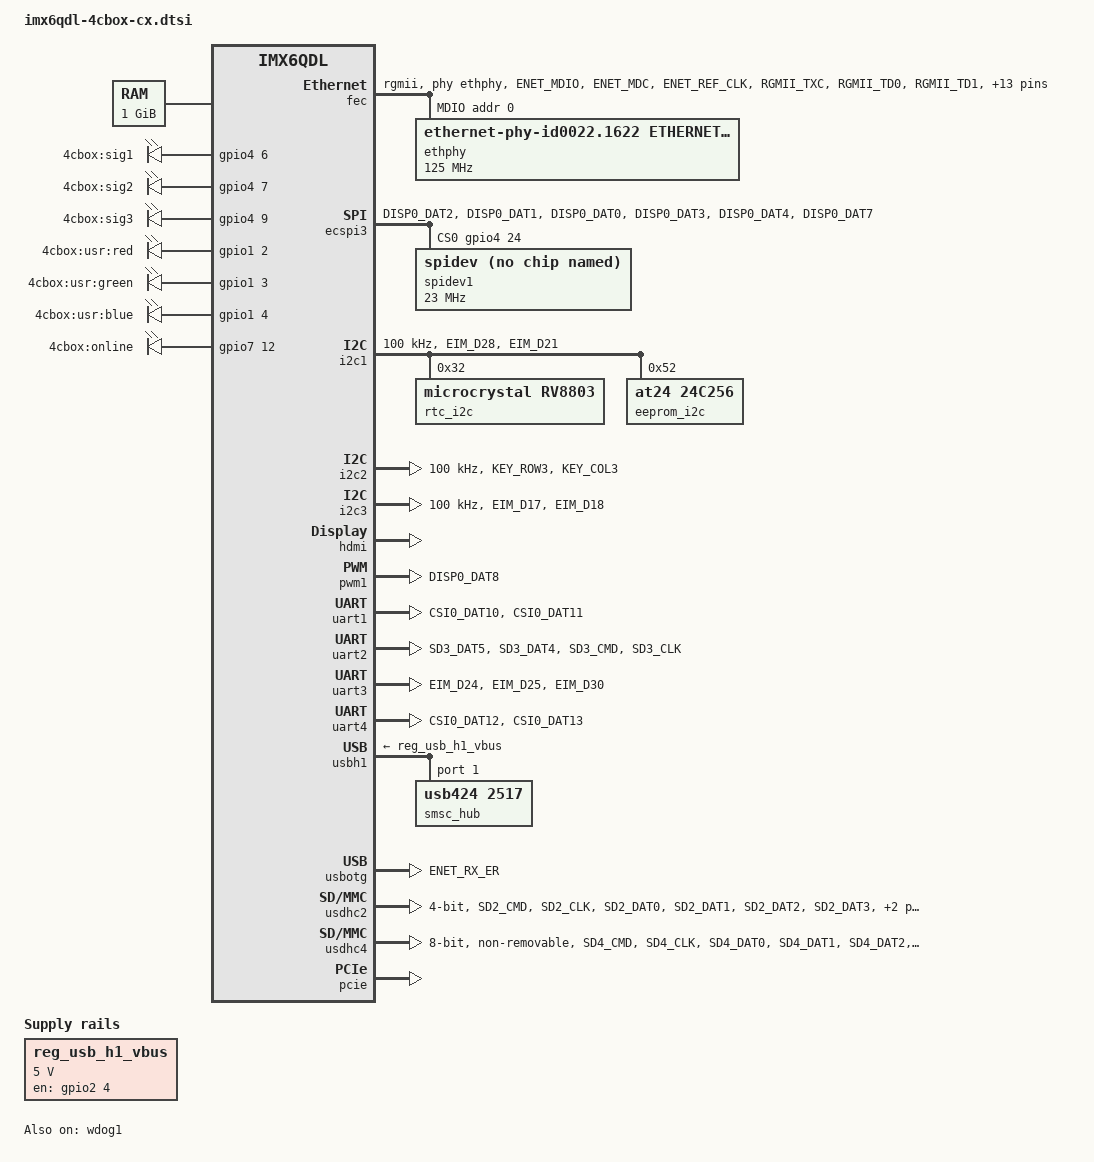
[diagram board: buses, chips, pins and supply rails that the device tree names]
// SPDX-License-Identifier: GPL-2.0+
/*
 * Copyright (C) 2019 Christ Electronic Systems GmbH
 * Peter Fink <pfink@christ-es.de>
 * Copyright 2012-2015 Freescale Semiconductor, Inc.
 * Copyright 2011 Linaro Ltd.
 *
 * The code contained herein is licensed under the GNU General Public
 * License. You may obtain a copy of the GNU General Public License
 * Version 2 or later at the following locations:
 *
 * http://www.opensource.org/licenses/gpl-license.html
 * http://www.gnu.org/copyleft/gpl.html
 */

#include <dt-bindings/clock/imx6qdl-clock.h>
#include <dt-bindings/gpio/gpio.h>
#include <dt-bindings/input/input.h>

/ {

	aliases {
		ethernet1 = "/soc/aips-bus@2100000/usb@2184200/smsc_hub@1/asix_enet@1";
	};

	chosen {
		stdout-path = &uart1;
	};

	memory@10000000 {
		reg = <0x10000000 0x40000000>;
	};

	regulators {
		compatible = "simple-bus";
		#address-cells = <1>;
		#size-cells = <0>;

		reg_usb_h1_vbus: regulator@1 {
			compatible = "regulator-fixed";
			reg = <0>;
			regulator-name = "usb_h1_vbus";
			regulator-min-microvolt = <5000000>;
			regulator-max-microvolt = <5000000>;
			pinctrl-names = "default";
			pinctrl-0 = <&pinctrl_usbhub_reset>; /* smsc usb2517i reset */
			gpio = <&gpio2 4 0>;
			enable-active-high;
			startup-delay-us = <2000>;
			status = "okay";
		};
	};

	gpio_leds {
		compatible = "gpio-leds";
		pinctrl-names = "default";
		pinctrl-0 = <&pinctrl_leds>;

		led-sig1 {
			label = "4cbox:sig1";
			gpios = <&gpio4 6 0>;
			default-state = "off";
		};

		led-sig2 {
			label = "4cbox:sig2";
			gpios = <&gpio4 7 0>;
			default-state = "off";
		};

		led-sig3 {
			label = "4cbox:sig3";
			gpios = <&gpio4 9 0>;
			default-state = "off";
		};

		led-usr-red {
			label = "4cbox:usr:red";
			gpios = <&gpio1 2 0>;
			default-state = "off";
		};

		led-usr-green {
			label = "4cbox:usr:green";
			gpios = <&gpio1 3 0>;
			default-state = "off";
		};

		led-usr-blue {
			label = "4cbox:usr:blue";
			gpios = <&gpio1 4 0>;
			default-state = "off";
		};

		led-online {
			label = "4cbox:online";
			gpios = <&gpio7 12 0>;
			linux,default-trigger = "heartbeat";
		};
	};
};

&fec {
	pinctrl-names = "default";
	pinctrl-0 = <&pinctrl_enet>;
	phy-mode = "rgmii";
	interrupts-extended = <&gpio1 6 IRQ_TYPE_LEVEL_HIGH>,
			      <&intc 0 119 IRQ_TYPE_LEVEL_HIGH>;
	fsl,err006687-workaround-present;
	phy-handle = <&ethphy>;
	phy-reset-gpios = <&gpio1 25 GPIO_ACTIVE_LOW>;
	phy-reset-duration = <1>;
	txen-skew-ps = <0>;
	txc-skew-ps = <1680>;
	rxdv-skew-ps = <0>;
	rxc-skew-ps = <1680>;
	rxd0-skew-ps = <0>;
	rxd1-skew-ps = <0>;
	rxd2-skew-ps = <0>;
	rxd3-skew-ps = <0>;
	txd0-skew-ps = <0>;
	txd1-skew-ps = <0>;
	txd2-skew-ps = <0>;
	txd3-skew-ps = <0>;
	status = "okay";

	mdio {
		#address-cells = <1>;
		#size-cells = <0>;

		ethphy: ethernet-phy@0 {
			compatible = "ethernet-phy-id0022.1622, ethernet-phy-ieee802.3-c22";
			reg = <0>;
			max-speed = <1000>;
			clock-frequency = <125000000>;
		};
	};
};

&ecspi3 {
	fsl,spi-num-chipselects = <2>;
	cs-gpios = <&gpio4 24 0>,
		   <&gpio4 25 0>;
	pinctrl-names = "default";
	pinctrl-0 = <&pinctrl_ecspi3>;
	status = "okay";

	spidev1: spidev@1 {
		compatible = "spidev";
		reg = <0>;
		spi-max-frequency = <23000000>;
	};
};

&i2c1 {
	clock-frequency = <100000>;
	pinctrl-names = "default";
	pinctrl-0 = <&pinctrl_i2c1>;
	status = "okay";

	rtc_i2c: rtc@32 {
		compatible = "microcrystal,rv8803";
		reg = <0x32>;
		#clock-cells = <0>;
	};

	eeprom_i2c: at24@52 {
		compatible = "at24,24c256";
		pagesize = <32>;
		reg = <0x52>;
	};

	/* optional: atecc608@60 */

};

&i2c2 {
	/* i2c2@HDMI */
	/* i2c2@M.2 Key_E */
	clock-frequency = <100000>;
	pinctrl-names = "default";
	pinctrl-0 = <&pinctrl_i2c2>;
	status = "okay";
};

&i2c3 {
	/* i2c3@MCB */
	clock-frequency = <100000>;
	pinctrl-names = "default";
	pinctrl-0 = <&pinctrl_i2c3>;
	status = "okay";
};

&hdmi {
	pinctrl-names = "default";
	ddc-i2c-bus = <&i2c2>;
	status = "okay";
};

&iomuxc {
	pinctrl-names = "default";
	pinctrl-0 = <&pinctrl_gpio1
		     &pinctrl_pwm2_gpio_mcb
		     &pinctrl_uart4_gpio_mcb
		     &pinctrl_flexcan1_gpio_mcb
		    >;

imx6qdl-pixi {
		pinctrl_enet: enetgrp {
			fsl,pins = <
				MX6QDL_PAD_ENET_MDIO__ENET_MDIO		0x1b0b0
				MX6QDL_PAD_ENET_MDC__ENET_MDC		0x1b0b0
				MX6QDL_PAD_ENET_REF_CLK__ENET_TX_CLK	0x1b0b0
				MX6QDL_PAD_RGMII_TXC__RGMII_TXC		0x1b0b0
				MX6QDL_PAD_RGMII_TD0__RGMII_TD0		0x1b0b0
				MX6QDL_PAD_RGMII_TD1__RGMII_TD1		0x1b0b0
				MX6QDL_PAD_RGMII_TD2__RGMII_TD2		0x1b0b0
				MX6QDL_PAD_RGMII_TD3__RGMII_TD3		0x1b0b0
				MX6QDL_PAD_RGMII_TX_CTL__RGMII_TX_CTL	0x1b0b0
				MX6QDL_PAD_RGMII_RXC__RGMII_RXC		0x1b0b0
				MX6QDL_PAD_RGMII_RD0__RGMII_RD0		0x1b0b0
				MX6QDL_PAD_RGMII_RD1__RGMII_RD1		0x1b0b0
				MX6QDL_PAD_RGMII_RD2__RGMII_RD2		0x1b0b0
				MX6QDL_PAD_RGMII_RD3__RGMII_RD3		0x1b0b0
				MX6QDL_PAD_RGMII_RX_CTL__RGMII_RX_CTL	0x1b0b0
				MX6QDL_PAD_ENET_RXD1__GPIO1_IO26	0x1b0b0 /* irq pin (not used) */
				MX6QDL_PAD_ENET_CRS_DV__GPIO1_IO25	0x1b0b0 /* reset pin */
				MX6QDL_PAD_GPIO_6__ENET_IRQ		0x000b1 /* workaround for err006687 */
			>;
		};

		pinctrl_ecspi3: ecspi3grp {
			fsl,pins = <
				MX6QDL_PAD_DISP0_DAT2__ECSPI3_MISO	0x100b1
				MX6QDL_PAD_DISP0_DAT1__ECSPI3_MOSI	0x100b1
				MX6QDL_PAD_DISP0_DAT0__ECSPI3_SCLK	0x100b1
				MX6QDL_PAD_DISP0_DAT3__GPIO4_IO24	0x1b0b0
				MX6QDL_PAD_DISP0_DAT4__GPIO4_IO25	0x1b0b0
				MX6QDL_PAD_DISP0_DAT7__GPIO4_IO28	0x1b0b0 /* IRQ_TPM */
			>;
		};

		pinctrl_i2c1: i2c1grp {
			fsl,pins = <
				MX6QDL_PAD_EIM_D28__I2C1_SDA		0x4001b8b1
				MX6QDL_PAD_EIM_D21__I2C1_SCL		0x4001b8b1
			>;
		};

		pinctrl_i2c2: i2c2grp {
			fsl,pins = <
				MX6QDL_PAD_KEY_ROW3__I2C2_SDA		0x4001b8b1
				MX6QDL_PAD_KEY_COL3__I2C2_SCL		0x4001b8b1
			>;
		};

		pinctrl_i2c3: i2c3grp {
			fsl,pins = <
				MX6QDL_PAD_EIM_D17__I2C3_SCL		0x4001b8b1
				MX6QDL_PAD_EIM_D18__I2C3_SDA		0x4001b8b1
			>;
		};

		pinctrl_pwm1: pwm1grp {
			fsl,pins = <
				MX6QDL_PAD_DISP0_DAT8__PWM1_OUT		0x1b0b1
			>;
		};

		pinctrl_pwm2_mcb: pwm2grp_mcb {
			fsl,pins = <
				MX6QDL_PAD_DISP0_DAT9__PWM2_OUT		0x1b0b1
			>;
		};

		pinctrl_pwm2_gpio_mcb: pwm2grp_gpio_mcb {
			fsl,pins = <
				MX6QDL_PAD_DISP0_DAT9__GPIO4_IO30	0x130b0
			>;
		};

		pinctrl_uart1: uart1grp {
			fsl,pins = <
				MX6QDL_PAD_CSI0_DAT10__UART1_TX_DATA	0x1b0b1
				MX6QDL_PAD_CSI0_DAT11__UART1_RX_DATA	0x1b0b1
			>;
		};

		pinctrl_uart2: uart2grp {
			fsl,pins = <
				MX6QDL_PAD_SD3_DAT5__UART2_TX_DATA	0x1b0b1
				MX6QDL_PAD_SD3_DAT4__UART2_RX_DATA	0x1b0b1
				MX6QDL_PAD_SD3_CMD__UART2_CTS_B		0x1b0b1
				MX6QDL_PAD_SD3_CLK__UART2_RTS_B		0x1b0b1
			>;
		};

		pinctrl_uart3: uart3grp {
			fsl,pins = <
				MX6QDL_PAD_EIM_D24__UART3_TX_DATA	0x1b0b1
				MX6QDL_PAD_EIM_D25__UART3_RX_DATA	0x1b0b1
				MX6QDL_PAD_EIM_D30__UART3_CTS_B		0x1b0b1
			>;
		};

		pinctrl_uart4: uart4grp {
			fsl,pins = <
				MX6QDL_PAD_CSI0_DAT12__UART4_TX_DATA	0x1b0b1
				MX6QDL_PAD_CSI0_DAT13__UART4_RX_DATA	0x1b0b1
			>;
		};

		pinctrl_uart4_mcb: uart4grp_mcb {
			fsl,pins = <
				MX6QDL_PAD_CSI0_DAT16__UART4_RTS_B	0x1b0b1
				MX6QDL_PAD_CSI0_DAT17__UART4_CTS_B	0x1b0b1
			>;
		};

		pinctrl_uart4_gpio_mcb: uart4grp_gpio_mcb {
			fsl,pins = <
				MX6QDL_PAD_CSI0_DAT16__GPIO6_IO02	0x1b0b1
				MX6QDL_PAD_CSI0_DAT17__GPIO6_IO03	0x130b0
			>;
		};


		pinctrl_usbotg: usbotggrp {
			fsl,pins = <
				MX6QDL_PAD_ENET_RX_ER__USB_OTG_ID	0x17059
			>;
		};

		pinctrl_usbhub_reset: usbhub_reset {
			fsl,pins = <
				MX6QDL_PAD_NANDF_D4__GPIO2_IO04		0x130b0
			>;
		};

		pinctrl_usdhc2: usdhc2grp {
			fsl,pins = <
				MX6QDL_PAD_SD2_CMD__SD2_CMD		0x17059
				MX6QDL_PAD_SD2_CLK__SD2_CLK		0x10059
				MX6QDL_PAD_SD2_DAT0__SD2_DATA0		0x17059
				MX6QDL_PAD_SD2_DAT1__SD2_DATA1		0x17059
				MX6QDL_PAD_SD2_DAT2__SD2_DATA2		0x17059
				MX6QDL_PAD_SD2_DAT3__SD2_DATA3		0x17059
				MX6QDL_PAD_NANDF_D2__GPIO2_IO02		0x1b0b0 /* CD */
			>;
		};

		pinctrl_usdhc4: usdhc4grp {
			fsl,pins = <
				MX6QDL_PAD_SD4_CMD__SD4_CMD		0x17059
				MX6QDL_PAD_SD4_CLK__SD4_CLK		0x10059
				MX6QDL_PAD_SD4_DAT0__SD4_DATA0		0x17059
				MX6QDL_PAD_SD4_DAT1__SD4_DATA1		0x17059
				MX6QDL_PAD_SD4_DAT2__SD4_DATA2		0x17059
				MX6QDL_PAD_SD4_DAT3__SD4_DATA3		0x17059
				MX6QDL_PAD_SD4_DAT4__SD4_DATA4		0x17059
				MX6QDL_PAD_SD4_DAT5__SD4_DATA5		0x17059
				MX6QDL_PAD_SD4_DAT6__SD4_DATA6		0x17059
				MX6QDL_PAD_SD4_DAT7__SD4_DATA7		0x17059
				MX6QDL_PAD_NANDF_ALE__SD4_RESET		0x17059
			>;
		};

		pinctrl_flexcan1_mcb: can1grp_mcb {
			fsl,pins = <
				MX6QDL_PAD_KEY_COL2__FLEXCAN1_TX	0x1b0b0
				MX6QDL_PAD_KEY_ROW2__FLEXCAN1_RX	0x1b0b0
			>;
		};

		pinctrl_flexcan1_gpio_mcb: can1grp_gpio_mcb {
			fsl,pins = <
				MX6QDL_PAD_KEY_COL2__GPIO4_IO10		0x1b0b0
				MX6QDL_PAD_KEY_ROW2__GPIO4_IO11		0x1b0b0
			>;
		};

		pinctrl_gpio1: gpio1grp {
			fsl,pins = <
				MX6QDL_PAD_DISP0_DAT5__GPIO4_IO26	0x130b0 /* DOUT1 */
				MX6QDL_PAD_EIM_DA5__GPIO3_IO05		0x130b0 /* DIGIN1 */
				MX6QDL_PAD_EIM_DA6__GPIO3_IO06		0x130b0 /* DIGIN2 */
				MX6QDL_PAD_EIM_DA7__GPIO3_IO07		0x130b0 /* DIGIN3 */
				MX6QDL_PAD_EIM_DA8__GPIO3_IO08		0x130b0 /* DIGIN4 */
				MX6QDL_PAD_EIM_DA3__GPIO3_IO03		0x130b0 /* DIGIN5 */
				MX6QDL_PAD_EIM_DA12__GPIO3_IO12		0x130b0 /* DIGIN6 */
				MX6QDL_PAD_EIM_DA13__GPIO3_IO13		0x130b0 /* DIGIN7 */
				MX6QDL_PAD_EIM_DA15__GPIO3_IO15		0x130b0 /* DIGIN8 */
				MX6QDL_PAD_GPIO_16__GPIO7_IO11		0x130b0 /* MCB_ENABLE */
				MX6QDL_PAD_DISP0_DAT18__GPIO5_IO12	0x130b0 /* nPOWER_FAIL */
				MX6QDL_PAD_GPIO_8__GPIO1_IO08		0x130b0 /* SUS_CLK_32K */
				MX6QDL_PAD_NANDF_CLE__GPIO6_IO07	0x1b0b0 /* nPCIE_CLK_REQ */
				MX6QDL_PAD_NANDF_RB0__GPIO6_IO10	0x1b0b0 /* nPCIE_WAKE */
				MX6QDL_PAD_GPIO_1__GPIO1_IO01		0x130b0	/* WDOG_TRIG */
				MX6QDL_PAD_CSI0_VSYNC__GPIO5_IO21	0x130b0 /* WIFI_DISABLE */
				MX6QDL_PAD_CSI0_DAT4__GPIO5_IO22	0x130b0 /* BT_DISABLE */
				MX6QDL_PAD_CSI0_DAT5__GPIO5_IO23	0x1b0b0 /* nRST_LTE */
				MX6QDL_PAD_SD3_DAT2__GPIO7_IO06		0x1b0b0 /* nRST_WIFI */
				MX6QDL_PAD_CSI0_DAT6__GPIO5_IO24	0x130b0 /* nFULL_CARD_POWER_OFF */
				MX6QDL_PAD_CSI0_PIXCLK__GPIO5_IO18	0x1b0b0 /* CONFIG_0_B */
				MX6QDL_PAD_CSI0_DATA_EN__GPIO5_IO20	0x1b0b0 /* CONFIG_1_B */
				MX6QDL_PAD_CSI0_MCLK__GPIO5_IO19	0x1b0b0 /* CONFIG_2_B */
				MX6QDL_PAD_CSI0_DAT7__GPIO5_IO25	0x1b0b0 /* CONFIG_3_B */
			>;
		};

		pinctrl_leds: leds1grp {
			fsl,pins = <
				MX6QDL_PAD_GPIO_2__GPIO1_IO02		0x130b0 /* LED_USR_RED */
				MX6QDL_PAD_GPIO_3__GPIO1_IO03		0x130b0 /* LED_USR_GREEN */
				MX6QDL_PAD_GPIO_4__GPIO1_IO04		0x130b0 /* LED_USR_BLUE */
				MX6QDL_PAD_GPIO_17__GPIO7_IO12		0x130b0 /* LED_ONLINE */
				MX6QDL_PAD_KEY_COL0__GPIO4_IO06		0x130b0 /* LED_SIG1 */
				MX6QDL_PAD_KEY_ROW0__GPIO4_IO07		0x130b0 /* LED_SIG2 */
				MX6QDL_PAD_KEY_ROW1__GPIO4_IO09		0x130b0 /* LED_SIG3 */
			>;
		};
	};
};

&ldb {
	status = "disabled";
};

&pwm1 {
	/* PWM1@MCB */
	pinctrl-names = "default";
	pinctrl-0 = <&pinctrl_pwm1>;
	status = "okay";
};

&pwm2 {
	pinctrl-names = "default";
	pinctrl-0 = <&pinctrl_pwm2_mcb>;
	status = "disabled";
};

&snvs_poweroff {
	status = "okay";
};

&can1 {
	pinctrl-names = "default";
	pinctrl-0 = <&pinctrl_flexcan1_mcb>;
	status = "disabled";
};

&uart1 {
	pinctrl-names = "default";
	pinctrl-0 = <&pinctrl_uart1>;
	status = "okay";
};

&uart2 {
	pinctrl-names = "default";
	pinctrl-0 = <&pinctrl_uart2>;
	status = "okay";
};

&uart3 {
	pinctrl-names = "default";
	pinctrl-0 = <&pinctrl_uart3>;
	status = "okay";
};

&uart4 {
	pinctrl-names = "default";
	pinctrl-0 = <&pinctrl_uart4>;
	status = "okay";
};

&usbh1 {
	vbus-supply = <&reg_usb_h1_vbus>;
	status = "okay";
	#address-cells = <1>;
	#size-cells = <0>;

	smsc_hub@1 {
		compatible = "usb424,2517";
		reg = <1>;
		#address-cells = <1>;
		#size-cells = <0>;

		asix_enet@1 {
			compatible = "usbb95,1790";
			reg = <6>;
			local-mac-address = [00 00 00 00 00 00];
		};
	};
};

&usbotg {
	pinctrl-names = "default";
	pinctrl-0 = <&pinctrl_usbotg>;
	disable-over-current;
	srp-disable;
	hnp-disable;
	adp-disable;
	status = "okay";
};

&usdhc2 {
	pinctrl-names = "default";
	pinctrl-0 = <&pinctrl_usdhc2>;
	bus-width = <4>;
	cd-gpios = <&gpio2 2 GPIO_ACTIVE_LOW>;
	no-1-8-v;
	status = "okay";
};

&usdhc4 {
	pinctrl-names = "default";
	pinctrl-0 = <&pinctrl_usdhc4>;
	bus-width = <8>;
	non-removable;
	no-1-8-v;
	keep-power-in-suspend;
	status = "okay";
};

&pcie {
	status = "okay";
};

&wdog1 {
	status = "okay";
};

&wdog2 {
	status = "disabled";
};
